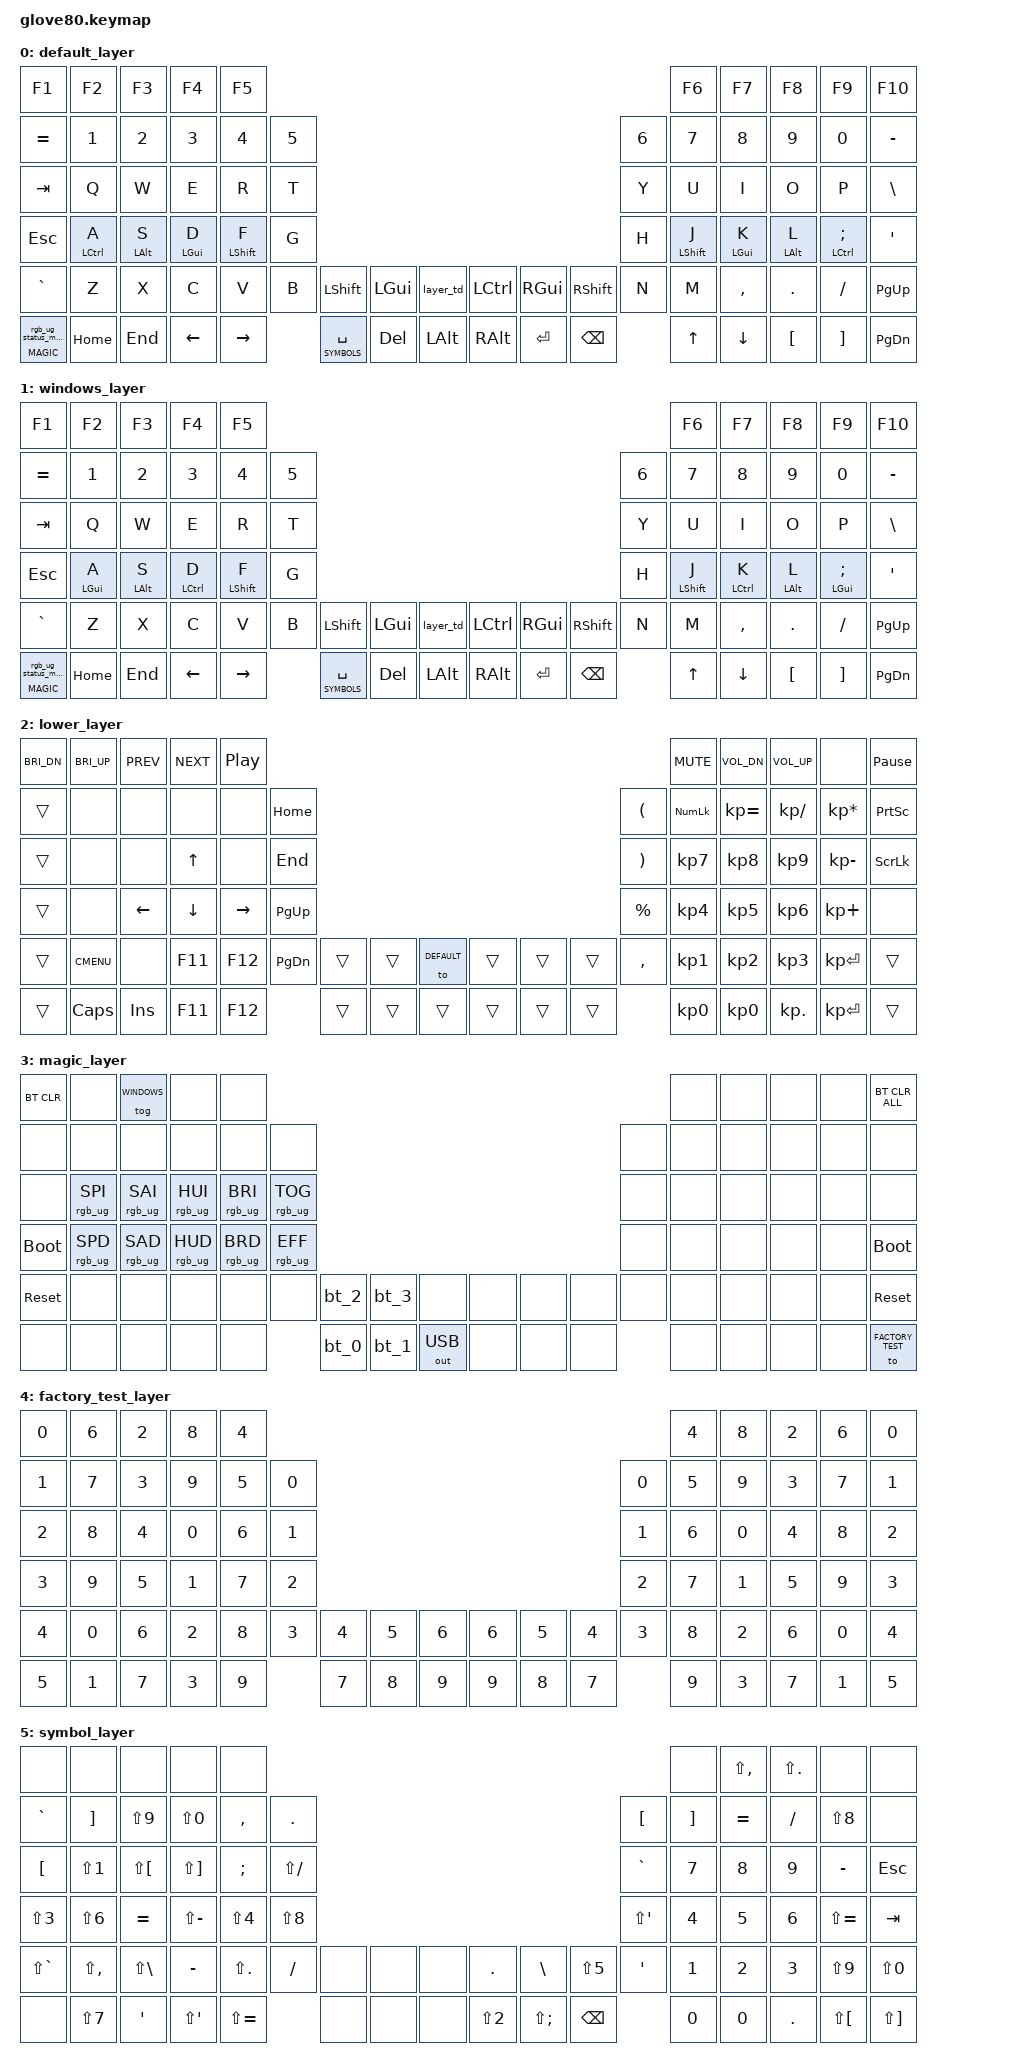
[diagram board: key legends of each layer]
/*
 * Copyright (c) 2020 The ZMK Contributors
 *
 * SPDX-License-Identifier: MIT
 */

#include <behaviors.dtsi>
#include <dt-bindings/zmk/keys.h>
#include <dt-bindings/zmk/bt.h>
#include <dt-bindings/zmk/ext_power.h>
#include <dt-bindings/zmk/outputs.h>
#include <dt-bindings/zmk/rgb.h>

#define HYPER LC(LS(LG(LALT)))

// layers
#define DEFAULT 0
#define WINDOWS 1
#define LOWER 2
#define MAGIC 3
#define FACTORY_TEST 4
#define SYMBOLS 5

// Handy diagrams borrowed from https://my.glove80.com/#/layout/user/19759528-f8df-420f-a346-31461dfbc05a
//
// |------------------------|------------------------|
// | LEFT_HAND_KEYS         |        RIGHT_HAND_KEYS |
// |                        |                        |
// |  0  1  2  3  4         |          5  6  7  8  9 |
// | 10 11 12 13 14 15      |      16 17 18 19 20 21 |
// | 22 23 24 25 26 27      |      28 29 30 31 32 33 |
// | 34 35 36 37 38 39      |      40 41 42 43 44 45 |
// | 46 47 48 49 50 51      |      58 59 60 61 62 63 |
// | 64 65 66 67 68         |         75 76 77 78 79 |
// |                69 52   |   57 74                |
// |                 70 53  |  56 73                 |
// |                  71 54 | 55 72                  |
// |------------------------|------------------------|
//
#define LEFT_HAND_KEYS      \
        0  1  2  3  4       \
        10 11 12 13 14 15   \
        22 23 24 25 26 27   \
        34 35 36 37 38 39   \
        46 47 48 49 50 51   \
        64 65 66 67 68
#define RIGHT_HAND_KEYS     \
                                        5  6  7  8  9   \
                                    16 17 18 19 20 21   \
                                    28 29 30 31 32 33   \
                                    40 41 42 43 44 45   \
                                    58 59 60 61 62 63   \
                                       75 76 77 78 79
#define THUMB_KEYS          \
                    69 52           57 74               \
                      70 53       56 73                 \
                        71 54   55 72

#define F_KEY_POS 38
#define G_KEY_POS 39
#define SPACE_KEY_POS 69

#define SPACE_SYM_LAY &symbol_ht SYMBOLS SPACE

/ {
    behaviors {
        // For the "layer" key, it'd nice to be able to use it as either a shift or a toggle.
        // Configure it as a tap dance, so the first tap (or hold) is a &mo and the second tap is a &to
        layer_td: tap_dance_0 {
            compatible = "zmk,behavior-tap-dance";
            #binding-cells = <0>;
            tapping-term-ms = <200>;
            bindings = <&mo LOWER>, <&to LOWER>;
        };

        symbol_ht: symbol_layer_hold_tap {
            compatible = "zmk,behavior-hold-tap";
            #binding-cells = <2>;
            flavor = "tap-preferred";
            quick-tap-ms = <300>;
            tapping-term-ms = <200>;
            require-prior-idle-ms = <100>;
            bindings = <&mo>, <&kp>;
        };

        magic: magic_hold_tap {
            compatible = "zmk,behavior-hold-tap";
            #binding-cells = <2>;
            flavor = "tap-preferred";
            tapping-term-ms = <200>;
            bindings = <&mo>, <&rgb_ug_status_macro>;
        };

        // Homerow Mod for the left index finger - TailorKey
        HRM_left_index_v1_TKZ: HRM_left_index_v1_TKZ {
            compatible = "zmk,behavior-hold-tap";
            #binding-cells = <2>;
            tapping-term-ms = <200>;
            bindings = <&kp>, <&kp>;
            flavor = "tap-preferred";
            quick-tap-ms = <300>;
            require-prior-idle-ms = <100>;
            hold-trigger-key-positions = <RIGHT_HAND_KEYS THUMB_KEYS>;
            hold-trigger-on-release;
        };

        // Homerow Mod for the left middle finger - TailorKey
        HRM_left_middy_v1_TKZ: HRM_left_middy_v1_TKZ {
            compatible = "zmk,behavior-hold-tap";
            #binding-cells = <2>;
            tapping-term-ms = <210>;
            bindings = <&kp>, <&kp>;
            flavor = "tap-preferred";
            quick-tap-ms = <300>;
            require-prior-idle-ms = <150>;
            hold-trigger-key-positions = <RIGHT_HAND_KEYS THUMB_KEYS>;
            hold-trigger-on-release;
        };

        // Homerow Mod for the left pinky - TailorKey
        HRM_left_pinky_v1_TKZ: HRM_left_pinky_v1_TKZ {
            compatible = "zmk,behavior-hold-tap";
            #binding-cells = <2>;
            tapping-term-ms = <260>;
            bindings = <&kp>, <&kp>;
            flavor = "tap-preferred";
            quick-tap-ms = <300>;
            require-prior-idle-ms = <150>;
            hold-trigger-key-positions = <RIGHT_HAND_KEYS THUMB_KEYS>;
            hold-trigger-on-release;
        };

        // Homerow Mod for the left ring finger 1 - TailorKey
        HRM_left_ring1_v1_TKZ: HRM_left_ring1_v1_TKZ {
            compatible = "zmk,behavior-hold-tap";
            #binding-cells = <2>;
            tapping-term-ms = <240>;
            bindings = <&kp>, <&kp>;
            flavor = "tap-preferred";
            quick-tap-ms = <300>;
            require-prior-idle-ms = <150>;
            hold-trigger-key-positions = <RIGHT_HAND_KEYS THUMB_KEYS>;
            hold-trigger-on-release;
        };

        // Homerow Mod for the right index finger - TailorKey
        HRM_right_index_v1_TKZ: HRM_right_index_v1_TKZ {
            compatible = "zmk,behavior-hold-tap";
            #binding-cells = <2>;
            tapping-term-ms = <200>;
            bindings = <&kp>, <&kp>;
            flavor = "tap-preferred";
            quick-tap-ms = <300>;
            require-prior-idle-ms = <100>;
            hold-trigger-key-positions = <LEFT_HAND_KEYS THUMB_KEYS>;
            hold-trigger-on-release;
        };

        // Homerow Mod for the right middle finger - TailorKey
        HRM_right_middy_v1_TKZ: HRM_right_middy_v1_TKZ {
            compatible = "zmk,behavior-hold-tap";
            #binding-cells = <2>;
            tapping-term-ms = <210>;
            bindings = <&kp>, <&kp>;
            flavor = "tap-preferred";
            quick-tap-ms = <300>;
            require-prior-idle-ms = <150>;
            hold-trigger-key-positions = <LEFT_HAND_KEYS THUMB_KEYS>;
            hold-trigger-on-release;
        };

        // Homerow Mod for the right pinky - TailorKey
        HRM_right_pinky_v1_TKZ: HRM_right_pinky_v1_TKZ {
            compatible = "zmk,behavior-hold-tap";
            #binding-cells = <2>;
            tapping-term-ms = <260>;
            bindings = <&kp>, <&kp>;
            flavor = "tap-preferred";
            quick-tap-ms = <300>;
            require-prior-idle-ms = <150>;
            hold-trigger-key-positions = <LEFT_HAND_KEYS THUMB_KEYS>;
            hold-trigger-on-release;
        };

        // Homerow Mod for the right ring 1 - TailorKey
        HRM_right_ring1_v1_TKZ: HRM_right_ring1_v1_TKZ {
            compatible = "zmk,behavior-hold-tap";
            #binding-cells = <2>;
            tapping-term-ms = <240>;
            bindings = <&kp>, <&kp>;
            flavor = "tap-preferred";
            quick-tap-ms = <300>;
            require-prior-idle-ms = <150>;
            hold-trigger-key-positions = <LEFT_HAND_KEYS THUMB_KEYS>;
            hold-trigger-on-release;
        };
    };

    macros {
        rgb_ug_status_macro: rgb_ug_status_macro_0 {
            label = "RGB_UG_STATUS";
            compatible = "zmk,behavior-macro";
            #binding-cells = <0>;
            bindings
                = <&rgb_ug RGB_STATUS>;
        };

        bt_0: bt_profile_macro_0 {
            label = "BT_0";
            compatible = "zmk,behavior-macro";
            #binding-cells = <0>;
            bindings
                = <&out OUT_BLE>,
                  <&bt BT_SEL 0>;
        };

        bt_1: bt_profile_macro_1 {
            label = "BT_1";
            compatible = "zmk,behavior-macro";
            #binding-cells = <0>;
            bindings
                = <&out OUT_BLE>,
                  <&bt BT_SEL 1>;
        };

        bt_2: bt_profile_macro_2 {
            label = "BT_2";
            compatible = "zmk,behavior-macro";
            #binding-cells = <0>;
            bindings
                = <&out OUT_BLE>,
                  <&bt BT_SEL 2>;
        };

        bt_3: bt_profile_macro_3 {
            label = "BT_3";
            compatible = "zmk,behavior-macro";
            #binding-cells = <0>;
            bindings
                = <&out OUT_BLE>,
                  <&bt BT_SEL 3>;
        };
    };

    combos {
        compatible = "zmk,combos";

        // combo for caps word is SPACE+f (only applicable to "base" layers)
        combo_capsword {
            timeout-ms = <50>;
            key-positions = <SPACE_KEY_POS F_KEY_POS>;
            bindings = <&caps_word>;
            layers = <DEFAULT WINDOWS>;
        };

        // combo for caps lock is SPACE+g (since it should be used less commonly) (only applicable to "base" layers)
        combo_capslock {
            timeout-ms = <50>;
            key-positions = <SPACE_KEY_POS G_KEY_POS>;
            bindings = <&kp CAPS>;
            layers = <DEFAULT WINDOWS>;
        };
    };

    // Differences compared to default glove80 config (for typing layers):
    //  - Swapped the position of backspace and space (space is on the LH thumb cluster, backspace is on the RH thumb cluster)
    //  - Using home row mods
    //  - Changed order of layers since the default and windows layers are both "base layers" and, according to zmk docs, should have the lowest values
    //  - Added a toggle for toggling the Windows layer to the MAGIC layer (mapped to F3)
    //  - Added a hold-tap for the space key to momentarily toggle the SYMBOLS layer on hold (modified version of symbol layer from
    //      Glorious Engrammer layout (but with thumb symbols on RH since my space is on the LH) combined with a num pad on the RH)
    //  - Added layers: WINDOWS, SYMBOLS
    keymap {
        compatible = "zmk,keymap";

        // macos is the default layer (home row mods are CAGS)
        default_layer {
            bindings = <
            &kp F1         &kp F2                          &kp F3                         &kp F4                         &kp F5                                                                                                            &kp F6  &kp F7                           &kp F8                          &kp F9                                &kp F10
            &kp EQUAL      &kp N1                          &kp N2                         &kp N3                         &kp N4                          &kp N5                                                                            &kp N6  &kp N7                           &kp N8                          &kp N9                          &kp N0                                &kp MINUS
            &kp TAB        &kp Q                           &kp W                          &kp E                          &kp R                           &kp T                                                                             &kp Y   &kp U                            &kp I                           &kp O                           &kp P                                 &kp BSLH
            &kp ESC        &HRM_left_pinky_v1_TKZ LCTRL A  &HRM_left_ring1_v1_TKZ LALT S  &HRM_left_middy_v1_TKZ LGUI D  &HRM_left_index_v1_TKZ LSHFT F  &kp G                                                                             &kp H   &HRM_right_index_v1_TKZ LSHFT J  &HRM_right_middy_v1_TKZ LGUI K  &HRM_right_ring1_v1_TKZ LALT L  &HRM_right_pinky_v1_TKZ LCTRL SEMI    &kp SQT
            &kp GRAVE      &kp Z                           &kp X                          &kp C                          &kp V                           &kp B   &kp LSHFT   &kp LGUI   &layer_td  &kp LCTRL  &kp RGUI  &kp RSHFT   &kp N   &kp M                            &kp COMMA                       &kp DOT                         &kp FSLH                              &kp PG_UP
            &magic MAGIC 0 &kp HOME                        &kp END                        &kp LEFT                       &kp RIGHT                               SPACE_SYM_LAY &kp DEL    &kp LALT   &kp RALT   &kp RET   &kp BSPC            &kp UP                           &kp DOWN                        &kp LBKT                        &kp RBKT                              &kp PG_DN
            >;
        };

        // windows-specific typing layer (home row mods are GACS)
        windows_layer {
            bindings = <
            &kp F1         &kp F2                          &kp F3                         &kp F4                         &kp F5                                                                                                            &kp F6                           &kp F7                          &kp F8                          &kp F9                                &kp F10
            &kp EQUAL      &kp N1                          &kp N2                         &kp N3                         &kp N4                          &kp N5                                                                            &kp N6  &kp N7                           &kp N8                          &kp N9                          &kp N0                                &kp MINUS
            &kp TAB        &kp Q                           &kp W                          &kp E                          &kp R                           &kp T                                                                             &kp Y   &kp U                            &kp I                           &kp O                           &kp P                                 &kp BSLH
            &kp ESC        &HRM_left_pinky_v1_TKZ LGUI A  &HRM_left_ring1_v1_TKZ LALT S  &HRM_left_middy_v1_TKZ LCTRL D  &HRM_left_index_v1_TKZ LSHFT F  &kp G                                                                             &kp H   &HRM_right_index_v1_TKZ LSHFT J  &HRM_right_middy_v1_TKZ LCTRL K  &HRM_right_ring1_v1_TKZ LALT L  &HRM_right_pinky_v1_TKZ LGUI SEMI    &kp SQT
            &kp GRAVE      &kp Z                           &kp X                          &kp C                          &kp V                           &kp B   &kp LSHFT   &kp LGUI   &layer_td  &kp LCTRL  &kp RGUI   &kp RSHFT   &kp N   &kp M                            &kp COMMA                       &kp DOT                         &kp FSLH                              &kp PG_UP
            &magic MAGIC 0 &kp HOME                        &kp END                        &kp LEFT                       &kp RIGHT                               SPACE_SYM_LAY &kp DEL    &kp LALT   &kp RALT   &kp RET    &kp BSPC            &kp UP                           &kp DOWN                        &kp LBKT                        &kp RBKT                              &kp PG_DN
            >;
        };

        lower_layer {
            bindings = <
            &kp C_BRI_DN      &kp C_BRI_UP        &kp C_PREV      &kp C_NEXT      &kp C_PP                                                                                                           &kp C_MUTE   &kp C_VOL_DN &kp C_VOL_UP  &none           &kp PAUSE_BREAK
            &trans            &none               &none           &none           &none           &kp HOME                                                                              &kp LPAR     &kp KP_NUM   &kp KP_EQUAL &kp KP_DIVIDE &kp KP_MULTIPLY &kp PSCRN
            &trans            &none               &none           &kp UP          &none           &kp END                                                                               &kp RPAR     &kp KP_N7    &kp KP_N8    &kp KP_N9     &kp KP_MINUS    &kp SLCK
            &trans            &none               &kp LEFT        &kp DOWN        &kp RIGHT       &kp PG_UP                                                                             &kp PRCNT    &kp KP_N4    &kp KP_N5    &kp KP_N6     &kp KP_PLUS     &none
            &trans            &kp K_CMENU         &none           &kp F11         &kp F12         &kp PG_DN       &trans      &trans      &to DEFAULT &trans      &trans      &trans    &kp COMMA    &kp KP_N1    &kp KP_N2    &kp KP_N3     &kp KP_ENTER    &trans
            &trans            &kp CAPS            &kp INS         &kp F11         &kp F12                         &trans      &trans      &trans      &trans      &trans      &trans                 &kp KP_N0    &kp KP_N0    &kp KP_DOT    &kp KP_ENTER    &trans
            >;
        };

        magic_layer {
            bindings = <
            &bt BT_CLR        &none               &tog WINDOWS    &none           &none                                                                                                           &none      &none      &none      &none      &bt BT_CLR_ALL
            &none             &none               &none           &none           &none           &none                                                                                &none      &none      &none      &none      &none      &none
            &none             &rgb_ug RGB_SPI     &rgb_ug RGB_SAI &rgb_ug RGB_HUI &rgb_ug RGB_BRI &rgb_ug RGB_TOG                                                                      &none      &none      &none      &none      &none      &none
            &bootloader       &rgb_ug RGB_SPD     &rgb_ug RGB_SAD &rgb_ug RGB_HUD &rgb_ug RGB_BRD &rgb_ug RGB_EFF                                                                      &none      &none      &none      &none      &none      &bootloader
            &sys_reset        &none               &none           &none           &none           &none           &bt_2     &bt_3     &none            &none     &none     &none       &none      &none      &none      &none      &none      &sys_reset
            &none             &none               &none           &none           &none                           &bt_0     &bt_1     &out OUT_USB     &none     &none     &none                  &none      &none      &none      &none      &to FACTORY_TEST
            >;
        };

        factory_test_layer {
            bindings = <
            &kp N0   &kp N6   &kp N2   &kp N8   &kp N4                                                                              &kp N4   &kp N8   &kp N2   &kp N6   &kp N0
            &kp N1   &kp N7   &kp N3   &kp N9   &kp N5   &kp N0                                                            &kp N0   &kp N5   &kp N9   &kp N3   &kp N7   &kp N1
            &kp N2   &kp N8   &kp N4   &kp N0   &kp N6   &kp N1                                                            &kp N1   &kp N6   &kp N0   &kp N4   &kp N8   &kp N2
            &kp N3   &kp N9   &kp N5   &kp N1   &kp N7   &kp N2                                                            &kp N2   &kp N7   &kp N1   &kp N5   &kp N9   &kp N3
            &kp N4   &kp N0   &kp N6   &kp N2   &kp N8   &kp N3   &kp N4   &kp N5   &kp N6      &kp N6   &kp N5   &kp N4   &kp N3   &kp N8   &kp N2   &kp N6   &kp N0   &kp N4
            &kp N5   &kp N1   &kp N7   &kp N3   &kp N9            &kp N7   &kp N8   &kp N9      &kp N9   &kp N8   &kp N7            &kp N9   &kp N3   &kp N7   &kp N1   &kp N5
            >;
        };

        symbol_layer {
            bindings = <
            &none           &none         &none        &none         &none                                                                                            &none         &kp LS(COMMA)   &kp LS(DOT) &none         &none
            &kp GRAVE       &kp RBKT      &kp LS(N9)   &kp LS(N0)    &kp COMMA      &kp DOT                                                               &kp LBKT    &kp RBKT      &kp EQUAL       &kp FSLH    &kp LS(8)     &none
            &kp LBKT        &kp LS(N1)    &kp LS(LBKT) &kp LS(RBKT)  &kp SEMI       &kp LS(FSLH)                                                          &kp GRAVE   &kp N7        &kp N8          &kp N9      &kp MINUS     &kp ESC
            &kp LS(N3)      &kp LS(N6)    &kp EQUAL    &kp LS(MINUS) &kp LS(N4)     &kp LS(N8)                                                            &kp LS(SQT) &kp N4        &kp N5          &kp N6      &kp LS(EQUAL) &kp TAB
            &kp LS(GRAVE)   &kp LS(COMMA) &kp LS(BSLH) &kp MINUS     &kp LS(DOT)    &kp FSLH     &none &none &none    &kp DOT    &kp BSLH     &kp LS(N5)  &kp SQT     &kp N1        &kp N2          &kp N3      &kp LS(N9)    &kp LS(N0)
            &none           &kp LS(N7)    &kp SQT      &kp LS(SQT)   &kp LS(EQUAL)               &none &none &none    &kp LS(N2) &kp LS(SEMI) &kp BSPC                &kp N0        &kp N0          &kp DOT     &kp LS(LBKT)  &kp LS(RBKT)
            >;
        };
    };
};
